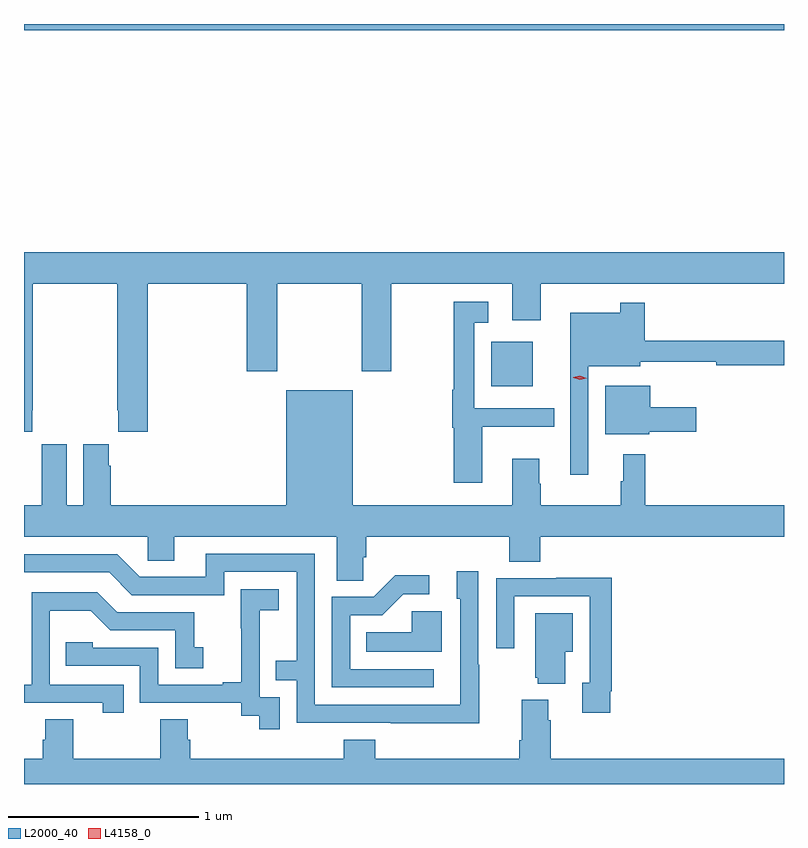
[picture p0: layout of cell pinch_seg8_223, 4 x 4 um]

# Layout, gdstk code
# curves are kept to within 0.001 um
import gdstk
lib = gdstk.Library(unit=1e-6, precision=1e-09)
def R(c, l, rs):  # rectangles x0, y0, x1, y1
    for r in rs: c.add(gdstk.rectangle(r[:2], r[2:], *l))
def P(c, l, *ps):  # polygons
    for p in ps: c.add(gdstk.Polygon(p, *l))
L2000_40 = (2000, 40)
L4158_0 = (4158, 0)

pinch_seg8_223 = lib.new_cell('pinch_seg8_223')
R(pinch_seg8_223, L2000_40, [(641.288,1102.64,641.506,1102.873), (638.828,1104.512,642.828,1104.546)])
P(pinch_seg8_223, L2000_40, [(638.871,1102.513),(638.874,1102.513),(638.874,1103.18),(639.319,1103.18),(639.319,1102.513),(639.325,1102.513),(639.325,1102.401),(639.479,1102.401),(639.479,1103.18),(640.001,1103.18),(640.001,1102.719),(640.161,1102.719),(640.161,1103.18),(640.606,1103.18),(640.606,1102.719),(640.761,1102.719),(640.761,1103.18),(641.399,1103.18),(641.399,1102.986),(641.548,1102.986),(641.548,1103.18),(642.828,1103.18),(642.828,1103.344),(638.828,1103.344),(638.828,1102.401),(638.871,1102.401)],
  [(641.239,1102.427),(641.618,1102.427),(641.618,1102.524),(641.199,1102.524),(641.199,1102.973),(641.272,1102.973),(641.272,1103.083),(641.091,1103.083),(641.091,1102.621),(641.083,1102.621),(641.083,1102.421),(641.09,1102.421),(641.09,1102.131),(641.239,1102.131)],
  [(641.799,1102.745),(642.072,1102.745),(642.072,1102.768),(642.472,1102.768),(642.472,1102.75),(642.828,1102.75),(642.828,1102.879),(642.095,1102.879),(642.095,1103.08),(641.967,1103.08),(641.967,1103.026),(641.702,1103.026),(641.702,1102.649),(641.703,1102.649),(641.703,1102.173),(641.799,1102.173)],
  [(642.12,1102.399),(642.367,1102.399),(642.367,1102.528),(642.124,1102.528),(642.124,1102.642),(641.888,1102.642),(641.888,1102.388),(642.12,1102.388)],
  [(640.614,1101.739),(640.628,1101.739),(640.628,1101.848),(641.381,1101.848),(641.381,1101.715),(641.546,1101.715),(641.546,1101.848),(642.828,1101.848),(642.828,1102.012),(642.098,1102.012),(642.098,1102.282),(641.981,1102.282),(641.981,1102.139),(641.97,1102.139),(641.97,1102.012),(641.547,1102.012),(641.547,1102.127),(641.539,1102.127),(641.539,1102.258),(641.399,1102.258),(641.399,1102.012),(640.558,1102.012),(640.558,1102.618),(640.208,1102.618),(640.208,1102.012),(639.284,1102.012),(639.284,1102.22),(639.274,1102.22),(639.274,1102.333),(639.14,1102.333),(639.14,1102.012),(639.052,1102.012),(639.052,1102.333),(638.922,1102.333),(638.922,1102.22),(638.921,1102.22),(638.921,1102.012),(638.828,1102.012),(638.828,1101.848),(639.48,1101.848),(639.48,1101.721),(639.619,1101.721),(639.619,1101.848),(640.475,1101.848),(640.475,1101.616),(640.614,1101.616)],
  [(641.223,1101.173),(641.22,1101.173),(641.22,1101.667),(641.105,1101.667),(641.105,1101.522),(641.124,1101.522),(641.123,1100.964),(640.359,1100.964),(640.359,1101.759),(639.785,1101.759),(639.785,1101.636),(639.438,1101.636),(639.318,1101.756),(638.828,1101.756),(638.828,1101.66),(639.276,1101.66),(639.396,1101.54),(639.882,1101.54),(639.882,1101.663),(640.263,1101.663),(640.263,1101.194),(640.153,1101.194),(640.153,1101.093),(640.263,1101.093),(640.263,1100.868),(641.223,1100.867)],
  [(640.984,1101.15),(640.545,1101.15),(640.545,1101.435),(640.714,1101.435),(640.825,1101.546),(640.96,1101.546),(640.96,1101.644),(640.781,1101.644),(640.668,1101.531),(640.449,1101.531),(640.449,1101.054),(640.984,1101.054)],
  [(641.914,1101.034),(641.921,1101.034),(641.921,1101.632),(641.629,1101.632),(641.629,1101.63),(641.313,1101.63),(641.313,1101.261),(641.409,1101.261),(641.409,1101.534),(641.805,1101.534),(641.805,1101.078),(641.765,1101.078),(641.765,1100.922),(641.914,1100.922)],
  [(640.173,1101.003),(640.068,1101.003),(640.068,1101.233),(640.07,1101.233),(640.07,1101.461),(640.168,1101.461),(640.168,1101.571),(639.97,1101.571),(639.97,1101.365),(639.971,1101.365),(639.971,1101.082),(639.875,1101.082),(639.875,1101.069),(639.534,1101.069),(639.534,1101.264),(639.189,1101.264),(639.189,1101.291),(639.049,1101.291),(639.049,1101.168),(639.438,1101.168),(639.438,1100.973),(639.972,1100.973),(639.972,1100.905),(640.065,1100.905),(640.065,1100.835),(640.173,1100.835)],
  [(639.353,1101.069),(638.964,1101.069),(638.964,1101.458),(639.178,1101.458),(639.282,1101.354),(639.624,1101.354),(639.624,1101.156),(639.772,1101.156),(639.772,1101.265),(639.723,1101.265),(639.723,1101.45),(639.319,1101.45),(639.214,1101.555),(638.868,1101.555),(638.868,1101.069),(638.828,1101.069),(638.828,1100.973),(639.242,1100.973),(639.242,1100.922),(639.353,1100.922)],
  [(641.026,1101.454),(640.869,1101.454),(640.869,1101.346),(640.63,1101.346),(640.63,1101.242),(641.026,1101.242)],
  [(641.677,1101.242),(641.716,1101.242),(641.716,1101.445),(641.519,1101.445),(641.519,1101.105),(641.531,1101.105),(641.531,1101.074),(641.677,1101.074)],
  [(640.676,1100.779),(640.511,1100.779),(640.511,1100.68),(639.704,1100.68),(639.704,1100.778),(639.691,1100.778),(639.691,1100.888),(639.544,1100.888),(639.544,1100.68),(639.087,1100.68),(639.087,1100.888),(638.939,1100.888),(638.939,1100.778),(638.927,1100.778),(638.927,1100.68),(638.828,1100.68),(638.828,1100.546),(642.828,1100.546),(642.828,1100.68),(641.6,1100.68),(641.6,1100.882),(641.587,1100.882),(641.587,1100.989),(641.447,1100.989),(641.447,1100.776),(641.435,1100.776),(641.435,1100.68),(640.676,1100.68)])
P(pinch_seg8_223, L4158_0, [(641.753,1102.674),(641.718,1102.685),(641.718,1102.685),(641.718,1102.686),(641.754,1102.694),(641.789,1102.682),(641.789,1102.682),(641.789,1102.682)])

lib.write_gds('pinch_seg8_223.gds')
